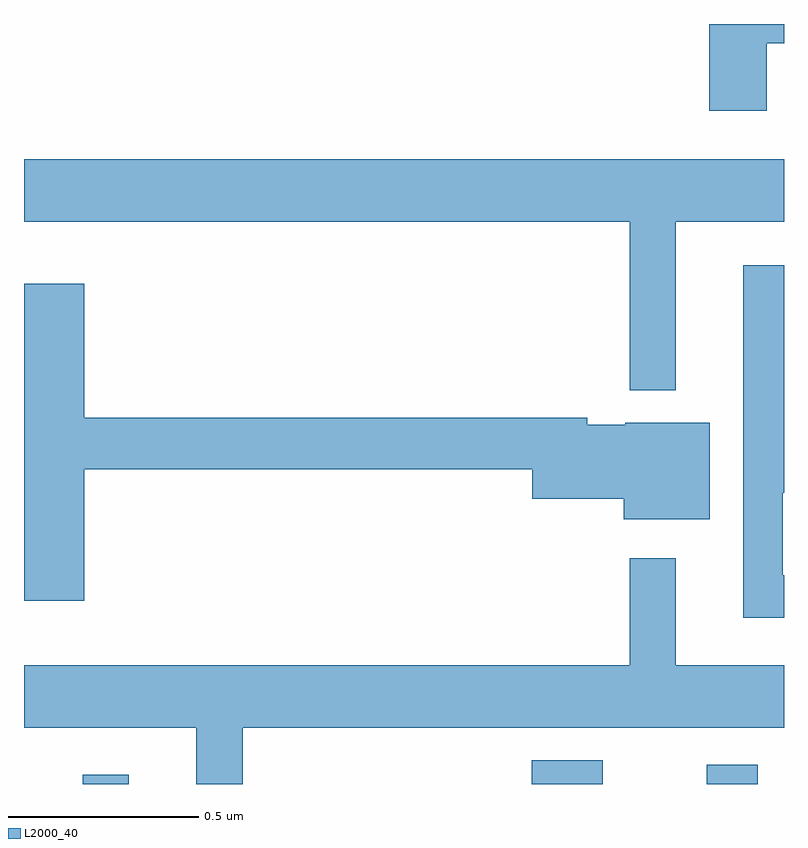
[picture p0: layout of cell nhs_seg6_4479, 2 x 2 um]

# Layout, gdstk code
import gdstk
lib = gdstk.Library(unit=1e-6, precision=1e-09)
def R(c, l, rs):  # rectangles x0, y0, x1, y1
    for r in rs: c.add(gdstk.rectangle(r[:2], r[2:], *l))
def P(c, l, *ps):  # polygons
    for p in ps: c.add(gdstk.Polygon(p, *l))
L2000_40 = (2000, 40)

nhs_seg6_4479 = lib.new_cell('nhs_seg6_4479')
R(nhs_seg6_4479, L2000_40, [(170.154,968.5,170.275,968.524), (171.336,968.5,171.523,968.563), (171.797,968.5,171.931,968.551)])
P(nhs_seg6_4479, L2000_40, [(171.955,970.449),(172,970.449),(172,970.5),(171.803,970.5),(171.803,970.272),(171.955,970.272)],
  [(171.715,969.98),(172,969.98),(172,970.144),(170,970.144),(170,969.98),(171.594,969.98),(171.594,969.536),(171.715,969.536)],
  [(172,969.049),(171.997,969.049),(171.997,969.266),(172,969.266),(172,969.865),(171.893,969.865),(171.893,968.937),(172,968.937)],
  [(170.159,969.328),(171.338,969.328),(171.338,969.251),(171.578,969.251),(171.578,969.197),(171.805,969.197),(171.805,969.451),(171.582,969.451),(171.582,969.445),(171.482,969.445),(171.482,969.464),(170.159,969.464),(170.159,969.817),(170,969.817),(170,968.982),(170.159,968.982)],
  [(170.575,968.648),(172,968.648),(172,968.812),(171.715,968.812),(171.715,969.094),(171.594,969.094),(171.594,968.812),(170,968.812),(170,968.648),(170.453,968.648),(170.453,968.5),(170.575,968.5)])

lib.write_gds('nhs_seg6_4479.gds')
